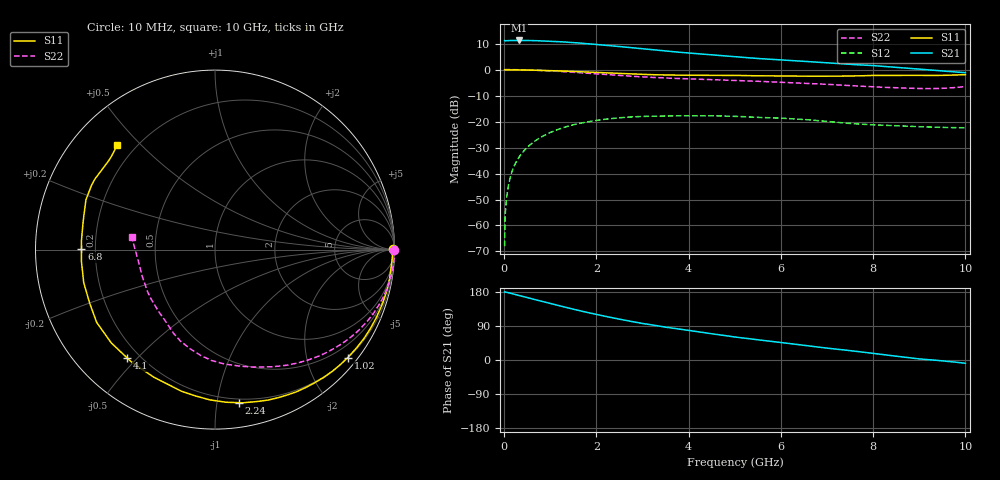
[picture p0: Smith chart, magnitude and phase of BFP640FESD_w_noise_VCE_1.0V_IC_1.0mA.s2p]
! Infineon Technologies  Discrete & RF Semiconductors
! BFP640FESD
! VCE =  1.0 V,  IC =  1.0 mA
! Common Emitter S-Parameters:  Jan 2016
# GHz  S  MA  R  50
!  f  S11  S21  S12  S22
! GHz  MAG  ANG  MAG  ANG  MAG  ANG  MAG  ANG
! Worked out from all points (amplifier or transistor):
!   233 points, 10 MHz to 10 GHz, reference 50 ohm
!   highest |S21| = 11.2 dB at 320 MHz (marker M1)
!   |S21| within 3 dB of that: start of sweep to 2.875 GHz
!   unconditionally stable (mu >= 1): 7.023 GHz to end of sweep
!   at 200 MHz: K = -0.01, MSG = 24.5 dB, |S12| = -37.9 dB
!   at 1.74 GHz: K = 0.11, MSG = 15.2 dB, |S12| = -20.3 dB
!   at 10 GHz: K = 1.90, MAG = 5.1 dB, |S12| = -22.4 dB
!   lowest NFmin = 0.44 dB at 450 MHz
!   S11 on the Smith chart (normalised r, x): 10 MHz: open; 1.02 GHz: 0.21, -2.80; 2.24 GHz: 0.17, -1.16; 4.1 GHz: 0.15, -0.47; 6.8 GHz: 0.15, +0.00; 10 GHz: 0.13, +0.43
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0.01  0.9906 0.1  3.599 179.5  0.0004 78.1  0.9983 0.0
0.015  0.9877 -0.3  3.586 179.6  0.0009 86.9  0.999 -0.3
0.02  0.9849 -0.8  3.574 179.7  0.0014 89.4  0.9998 -0.5
0.025  0.9856 -1.0  3.576 179.5  0.0017 89.1  0.9998 -0.6
0.045  0.9886 -1.9  3.582 178.7  0.0029 88.4  0.9997 -1.1
0.08  0.9884 -3.1  3.6 177.8  0.0051 88.2  0.9995 -1.9
0.165  0.9858 -6.4  3.624 175.2  0.0106 86.0  0.998 -4.1
0.32  0.9841 -12.3  3.631 170.4  0.0204 82.3  0.9932 -7.8
0.7  0.971 -27.0  3.594 158.5  0.0441 72.5  0.9703 -16.9
1.02  0.9534 -39.1  3.498 148.6  0.0627 64.4  0.941 -24.4
1.36  0.9296 -51.8  3.368 138.1  0.0803 55.8  0.9034 -32.2
1.68  0.9053 -63.1  3.215 128.9  0.0941 48.0  0.8651 -39.2
2.24  0.8635 -81.0  2.912 114.1  0.112 36.0  0.7995 -50.7
2.84  0.8193 -98.9  2.589 99.9  0.1236 24.6  0.736 -62.1
3.4  0.79 -113.1  2.311 88.7  0.1277 15.8  0.6936 -70.7
4.1  0.7771 -128.9  2.049 76.4  0.1292 7.1  0.6574 -79.6
4.5  0.7774 -138.0  1.927 69.2  0.1293 2.5  0.6404 -85.0
5.1  0.7698 -150.1  1.739 59.3  0.1251 -4.1  0.6134 -92.8
6  0.7543 -165.8  1.536 46.1  0.1164 -11.5  0.5704 -103.9
6.8  0.7441 179.7  1.384 34.3  0.1043 -16.5  0.5294 -114.1
8.4  0.7757 152.5  1.124 11.5  0.0838 -13.8  0.4499 -142.6
10  0.7978 133.0  0.871 -8.6  0.0758 -4.7  0.47 171.3
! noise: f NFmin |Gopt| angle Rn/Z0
0.45  0.44  0.85  9  0.44
2.4  1.03  0.61  61  0.35
5.5  1.58  0.64  145  0.12
10  3.33  0.68  -128  0.52
